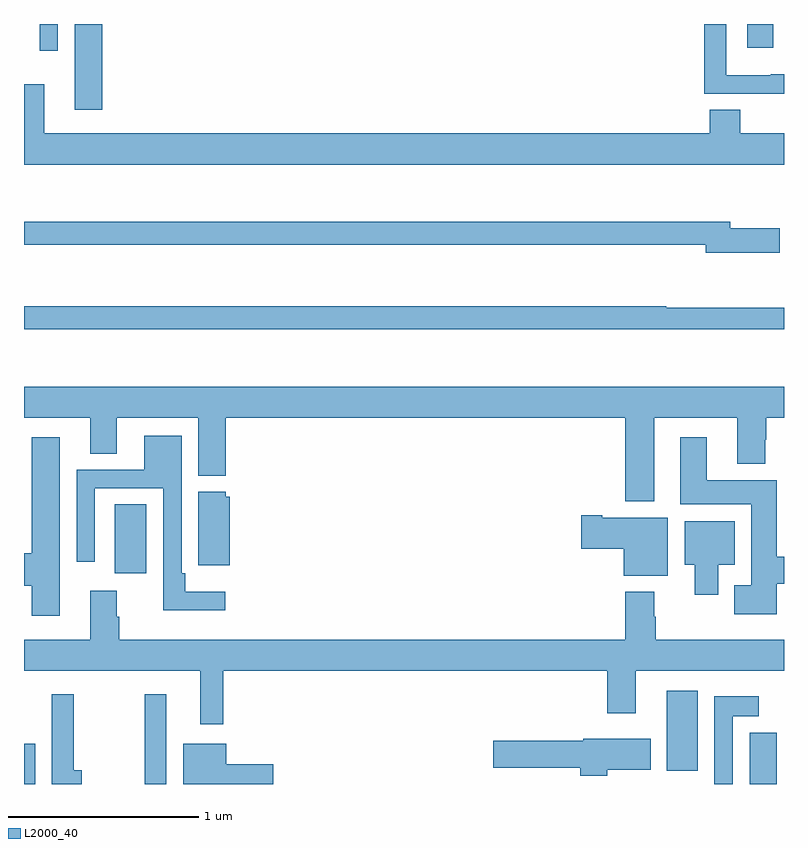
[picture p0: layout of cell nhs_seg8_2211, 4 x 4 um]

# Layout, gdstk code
import gdstk
lib = gdstk.Library(unit=1e-6, precision=1e-09)
def R(c, l, rs):  # rectangles x0, y0, x1, y1
    for r in rs: c.add(gdstk.rectangle(r[:2], r[2:], *l))
def P(c, l, *ps):  # polygons
    for p in ps: c.add(gdstk.Polygon(p, *l))
L2000_40 = (2000, 40)

nhs_seg8_2211 = lib.new_cell('nhs_seg8_2211')
R(nhs_seg8_2211, L2000_40, [(251,1119.9,251.059,1120.111), (251.635,1119.9,251.749,1120.372), (254.819,1119.9,254.962,1120.171), (254.384,1119.971,254.545,1120.39), (251.477,1121.01,251.644,1121.372), (251.267,1123.449,251.411,1123.9), (251.082,1123.758,251.178,1123.9), (254.807,1123.776,254.944,1123.9)])
P(nhs_seg8_2211, L2000_40, [(255,1123.636),(254.931,1123.636),(254.931,1123.63),(254.697,1123.63),(254.697,1123.9),(254.581,1123.9),(254.581,1123.533),(254.831,1123.533),(254.831,1123.532),(255,1123.532)],
  [(255,1123.324),(254.769,1123.324),(254.769,1123.448),(254.609,1123.448),(254.609,1123.324),(251.107,1123.324),(251.107,1123.582),(251,1123.582),(251,1123.16),(255,1123.16)],
  [(254.977,1122.825),(254.716,1122.825),(254.716,1122.859),(251,1122.859),(251,1122.738),(254.588,1122.738),(254.588,1122.695),(254.977,1122.695)],
  [(255,1122.407),(254.38,1122.407),(254.38,1122.415),(251,1122.415),(251,1122.294),(255,1122.294)],
  [(254.317,1121.828),(254.753,1121.828),(254.753,1121.585),(254.901,1121.585),(254.901,1121.712),(254.906,1121.712),(254.906,1121.828),(255,1121.828),(255,1121.992),(251,1121.992),(251,1121.828),(251.348,1121.828),(251.348,1121.638),(251.488,1121.638),(251.488,1121.828),(251.918,1121.828),(251.918,1121.522),(252.062,1121.522),(252.062,1121.828),(254.165,1121.828),(254.165,1121.387),(254.317,1121.387)],
  [(252.058,1120.912),(251.849,1120.912),(251.849,1121.008),(251.829,1121.008),(251.829,1121.734),(251.633,1121.734),(251.633,1121.553),(251.277,1121.553),(251.277,1121.07),(251.373,1121.07),(251.373,1121.457),(251.733,1121.457),(251.733,1120.814),(252.058,1120.814)],
  [(251.188,1121.725),(251.042,1121.725),(251.042,1121.114),(251,1121.114),(251,1120.943),(251.042,1120.943),(251.042,1120.785),(251.188,1120.785)],
  [(254.963,1120.954),(255,1120.954),(255,1121.096),(254.963,1121.096),(254.963,1121.5),(254.593,1121.5),(254.593,1121.725),(254.453,1121.725),(254.453,1121.372),(254.828,1121.372),(254.828,1120.945),(254.738,1120.945),(254.738,1120.793),(254.963,1120.793)],
  [(252.082,1121.412),(252.063,1121.412),(252.063,1121.437),(251.918,1121.437),(251.918,1121.051),(252.082,1121.051)],
  [(254.389,1121.302),(254.044,1121.302),(254.044,1121.315),(253.932,1121.315),(253.932,1121.137),(254.156,1121.137),(254.156,1120.997),(254.389,1120.997)],
  [(254.653,1121.054),(254.74,1121.054),(254.74,1121.284),(254.477,1121.284),(254.477,1121.054),(254.531,1121.054),(254.531,1120.896),(254.653,1120.896)],
  [(252.049,1120.496),(254.069,1120.496),(254.069,1120.272),(254.221,1120.272),(254.221,1120.496),(255,1120.496),(255,1120.66),(254.325,1120.66),(254.325,1120.781),(254.317,1120.781),(254.317,1120.912),(254.165,1120.912),(254.165,1120.66),(251.501,1120.66),(251.501,1120.781),(251.488,1120.781),(251.488,1120.918),(251.348,1120.918),(251.348,1120.66),(251,1120.66),(251,1120.496),(251.927,1120.496),(251.927,1120.215),(252.049,1120.215)],
  [(251.305,1119.973),(251.261,1119.973),(251.261,1120.372),(251.147,1120.372),(251.147,1119.9),(251.305,1119.9)],
  [(254.73,1120.256),(254.866,1120.256),(254.866,1120.363),(254.634,1120.363),(254.634,1119.9),(254.73,1119.9)],
  [(254.07,1119.974),(254.299,1119.974),(254.299,1120.138),(253.944,1120.138),(253.944,1120.128),(253.47,1120.128),(253.47,1119.986),(253.928,1119.986),(253.928,1119.944),(254.07,1119.944)],
  [(252.313,1120.005),(252.064,1120.005),(252.064,1120.111),(251.837,1120.111),(251.837,1119.9),(252.313,1119.9)])

lib.write_gds('nhs_seg8_2211.gds')
